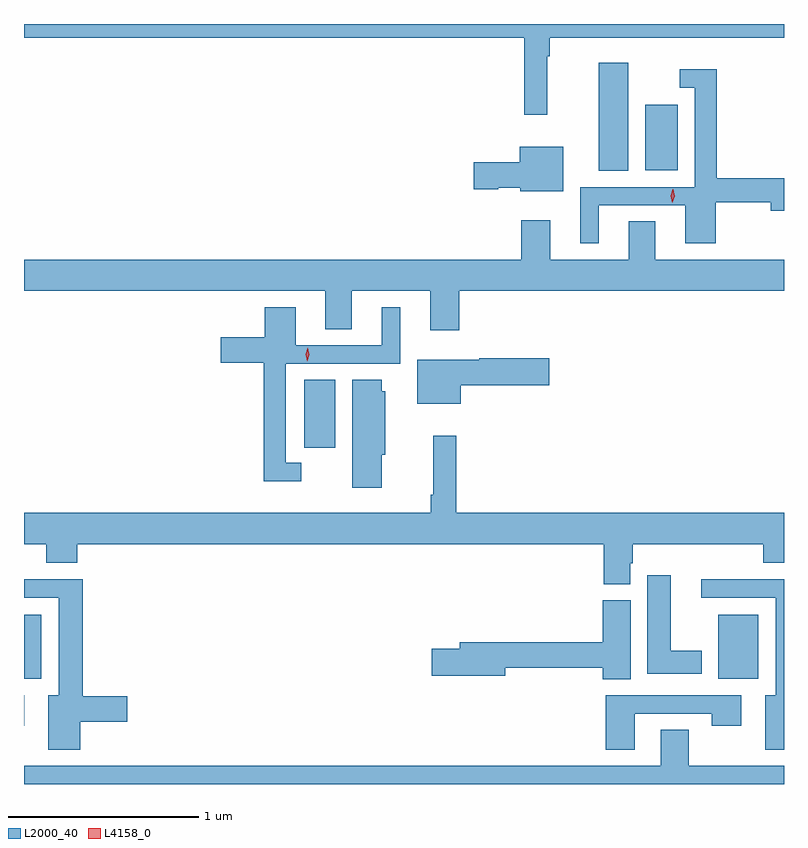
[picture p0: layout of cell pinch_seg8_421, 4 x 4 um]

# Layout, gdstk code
import gdstk
lib = gdstk.Library(unit=1e-6, precision=1e-09)
def R(c, l, rs):  # rectangles x0, y0, x1, y1
    for r in rs: c.add(gdstk.rectangle(r[:2], r[2:], *l))
def P(c, l, *ps):  # polygons
    for p in ps: c.add(gdstk.Polygon(p, *l))
L2000_40 = (2000, 40)
L4158_0 = (4158, 0)

pinch_seg8_421 = lib.new_cell('pinch_seg8_421')
R(pinch_seg8_421, L2000_40, [(274.857,1126.2,274.858,1126.359), (274.857,1126.448,274.948,1126.783), (278.51,1126.448,278.722,1126.783), (276.332,1127.664,276.496,1128.02), (277.883,1129.12,278.038,1129.69), (278.126,1129.124,278.299,1129.468)])
P(pinch_seg8_421, L2000_40, [(274.857,1129.82),(277.489,1129.82),(277.489,1129.416),(277.61,1129.416),(277.61,1129.724),(277.625,1129.724),(277.625,1129.82),(278.857,1129.82),(278.857,1129.893),(274.857,1129.893)],
  [(277.882,1128.939),(278.336,1128.939),(278.336,1128.738),(278.498,1128.738),(278.498,1128.954),(278.786,1128.954),(278.786,1128.911),(278.857,1128.911),(278.857,1129.082),(278.504,1129.082),(278.504,1129.654),(278.307,1129.654),(278.307,1129.557),(278.388,1129.557),(278.388,1129.035),(277.784,1129.035),(277.784,1128.738),(277.882,1128.738)],
  [(277.696,1129.246),(277.466,1129.246),(277.466,1129.166),(277.224,1129.166),(277.224,1129.024),(277.353,1129.024),(277.353,1129.031),(277.47,1129.031),(277.47,1129.013),(277.696,1129.013)],
  [(277.148,1128.488),(278.857,1128.488),(278.857,1128.652),(278.179,1128.652),(278.179,1128.854),(278.039,1128.854),(278.039,1128.652),(277.627,1128.652),(277.627,1128.859),(277.475,1128.859),(277.475,1128.652),(274.857,1128.652),(274.857,1128.488),(276.443,1128.488),(276.443,1128.286),(276.583,1128.286),(276.583,1128.488),(276.995,1128.488),(276.995,1128.282),(277.148,1128.282)],
  [(276.316,1127.583),(276.234,1127.583),(276.234,1128.105),(276.838,1128.105),(276.838,1128.403),(276.74,1128.403),(276.74,1128.201),(276.286,1128.201),(276.286,1128.403),(276.125,1128.403),(276.125,1128.244),(275.892,1128.244),(275.892,1128.11),(276.118,1128.11),(276.118,1127.486),(276.316,1127.486)],
  [(277.156,1127.993),(277.621,1127.993),(277.621,1128.135),(277.252,1128.135),(277.252,1128.127),(276.926,1128.127),(276.926,1127.894),(277.156,1127.894)],
  [(276.739,1127.625),(276.757,1127.625),(276.757,1127.961),(276.739,1127.961),(276.739,1128.02),(276.584,1128.02),(276.584,1127.451),(276.739,1127.451)],
  [(278.047,1127.055),(278.06,1127.055),(278.06,1127.156),(278.747,1127.156),(278.747,1127.057),(278.857,1127.057),(278.857,1127.32),(277.133,1127.32),(277.133,1127.725),(277.012,1127.725),(277.012,1127.416),(276.997,1127.416),(276.997,1127.32),(274.857,1127.32),(274.857,1127.156),(274.973,1127.156),(274.973,1127.057),(275.138,1127.057),(275.138,1127.156),(277.907,1127.156),(277.907,1126.945),(278.047,1126.945)],
  [(278.425,1126.594),(278.26,1126.594),(278.26,1126.993),(278.138,1126.993),(278.138,1126.472),(278.425,1126.472)],
  [(275.152,1126.22),(275.401,1126.22),(275.401,1126.355),(275.165,1126.355),(275.165,1126.97),(274.857,1126.97),(274.857,1126.872),(275.039,1126.872),(275.039,1126.36),(274.985,1126.36),(274.985,1126.074),(275.152,1126.074)],
  [(278.857,1126.97),(278.421,1126.97),(278.421,1126.872),(278.813,1126.872),(278.813,1126.36),(278.759,1126.36),(278.759,1126.074),(278.857,1126.074)],
  [(278.05,1126.86),(277.904,1126.86),(277.904,1126.64),(277.151,1126.64),(277.151,1126.604),(277.002,1126.604),(277.002,1126.462),(277.39,1126.462),(277.39,1126.504),(277.904,1126.504),(277.904,1126.444),(278.05,1126.444)],
  [(278.071,1126.263),(278.476,1126.263),(278.476,1126.2),(278.632,1126.2),(278.632,1126.359),(277.919,1126.359),(277.919,1126.074),(278.071,1126.074)],
  [(278.857,1125.988),(278.355,1125.988),(278.355,1126.178),(278.207,1126.178),(278.207,1125.988),(274.857,1125.988),(274.857,1125.893),(278.857,1125.893)])
P(pinch_seg8_421, L4158_0, [(278.269,1128.951),(278.269,1128.951),(278.261,1128.988),(278.272,1129.023),(278.272,1129.023),(278.273,1129.023),(278.281,1128.987),(278.269,1128.951)],
  [(276.347,1128.117),(276.347,1128.118),(276.339,1128.154),(276.35,1128.189),(276.35,1128.19),(276.35,1128.189),(276.358,1128.153),(276.347,1128.118)])

lib.write_gds('pinch_seg8_421.gds')
